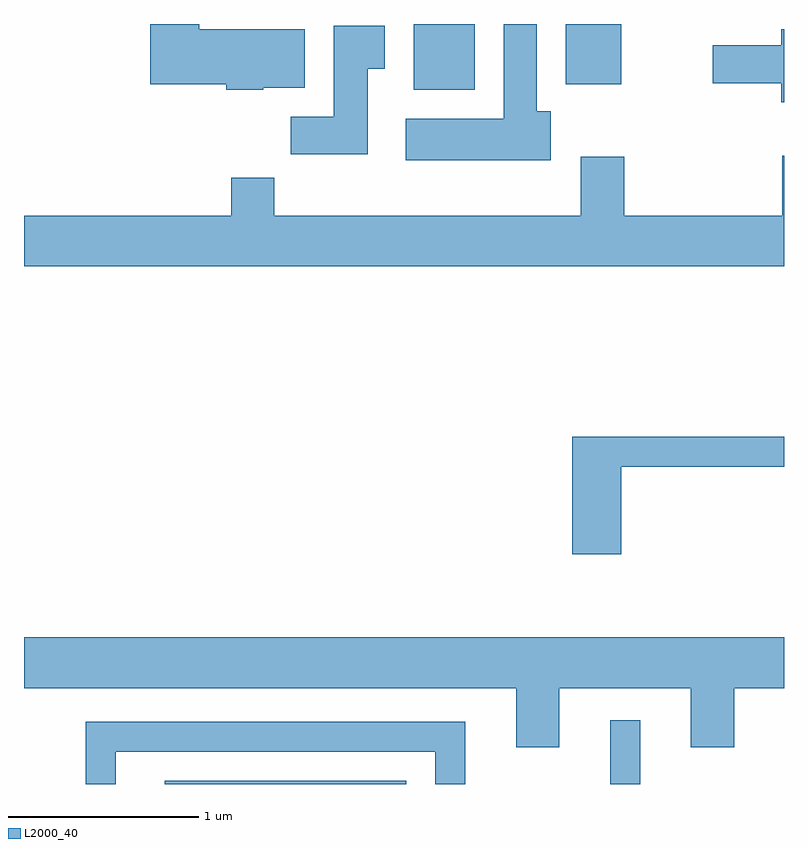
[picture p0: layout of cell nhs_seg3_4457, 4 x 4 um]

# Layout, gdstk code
import gdstk
lib = gdstk.Library(unit=1e-6, precision=1e-09)
def R(c, l, rs):  # rectangles x0, y0, x1, y1
    for r in rs: c.add(gdstk.rectangle(r[:2], r[2:], *l))
def P(c, l, *ps):  # polygons
    for p in ps: c.add(gdstk.Polygon(p, *l))
L2000_40 = (2000, 40)

nhs_seg3_4457 = lib.new_cell('nhs_seg3_4457')
R(nhs_seg3_4457, L2000_40, [(316.353,1189.892,317.624,1189.909), (318.696,1189.892,318.854,1190.228), (317.661,1193.546,317.984,1193.892), (318.461,1193.576,318.754,1193.892)])
P(nhs_seg3_4457, L2000_40, [(318.384,1193.434),(318.309,1193.434),(318.309,1193.892),(318.136,1193.892),(318.136,1193.394),(317.621,1193.394),(317.621,1193.176),(318.384,1193.176)],
  [(316.87,1193.556),(317.089,1193.556),(317.089,1193.864),(316.534,1193.864),(316.534,1193.892),(316.276,1193.892),(316.276,1193.576),(316.676,1193.576),(316.676,1193.546),(316.87,1193.546)],
  [(317.419,1193.656),(317.509,1193.656),(317.509,1193.884),(317.241,1193.884),(317.241,1193.404),(317.016,1193.404),(317.016,1193.206),(317.419,1193.206)],
  [(319.611,1193.864),(319.596,1193.864),(319.596,1193.779),(319.236,1193.779),(319.236,1193.581),(319.596,1193.581),(319.596,1193.481),(319.611,1193.481)],
  [(319.611,1193.199),(319.601,1193.199),(319.601,1192.884),(318.769,1192.884),(318.769,1193.194),(318.541,1193.194),(318.541,1192.884),(316.929,1192.884),(316.929,1193.084),(316.701,1193.084),(316.701,1192.884),(315.611,1192.884),(315.611,1192.616),(319.611,1192.616)],
  [(318.754,1191.561),(319.611,1191.561),(319.611,1191.719),(318.496,1191.719),(318.496,1191.101),(318.754,1191.101)],
  [(318.429,1190.396),(319.121,1190.396),(319.121,1190.086),(319.349,1190.086),(319.349,1190.396),(319.611,1190.396),(319.611,1190.664),(315.611,1190.664),(315.611,1190.396),(318.201,1190.396),(318.201,1190.086),(318.429,1190.086)],
  [(316.094,1190.061),(317.776,1190.061),(317.776,1189.892),(317.934,1189.892),(317.934,1190.219),(315.936,1190.219),(315.936,1189.892),(316.094,1189.892)])

lib.write_gds('nhs_seg3_4457.gds')
